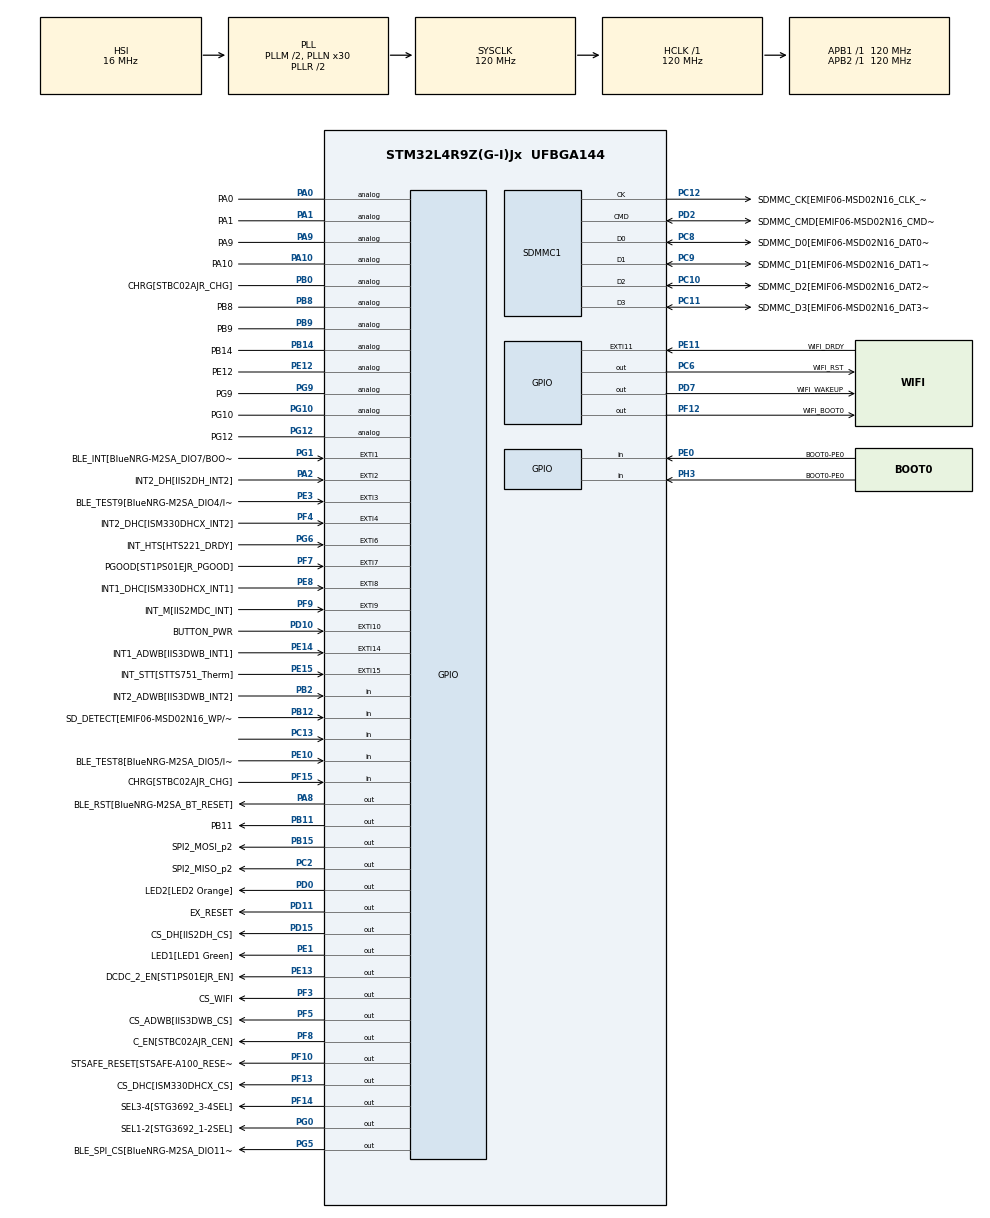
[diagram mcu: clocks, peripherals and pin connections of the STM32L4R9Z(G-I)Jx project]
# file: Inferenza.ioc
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FATFS.BSP.number=1
FATFS.USE_DMA_CODE_SD=1
FATFS0.BSP.STBoard=false
FATFS0.BSP.api=Unknown
FATFS0.BSP.instance=PC13
FATFS0.BSP.ip=GPIO
FATFS0.BSP.mode=Input
FATFS0.BSP.name=Detect_SDIO
FATFS0.BSP.solution=PC13
Mcu.Family=STM32L4
Mcu.Name=STM32L4R9Z(G-I)Jx
Mcu.Package=UFBGA144
NVIC.PriorityGroup=NVIC_PRIORITYGROUP_4
NVIC.SDMMC1_IRQn=true\:0\:0\:false\:false\:true\:true\:true\:true
PA0.GPIO_Label=PA0
PA0.Signal=GPIO_Analog
PA1.GPIO_Label=PA1
PA1.Signal=GPIO_Analog
PA10.GPIO_Label=PA10
PA10.Signal=GPIO_Analog
PA11.GPIO_Label=OTG_FS_DM[USBLC6-2P6_D2]
PA11.Signal=USB_OTG_FS_DM
PA12.GPIO_Label=OTG_FS_DP[USBLC6-2P6_D1]
PA12.Signal=USB_OTG_FS_DP
PA13\ (JTMS/SWDIO).GPIO_Label=SWDIO
PA13\ (JTMS/SWDIO).Mode=Serial_Wire
PA13\ (JTMS/SWDIO).Signal=SYS_JTMS-SWDIO
PA14\ (JTCK/SWCLK).GPIO_Label=SWDCLK
PA14\ (JTCK/SWCLK).Mode=Serial_Wire
PA14\ (JTCK/SWCLK).Signal=SYS_JTCK-SWCLK
PA15\ (JTDI).GPIO_Label=EX_PWM
PA15\ (JTDI).Signal=S_TIM2_CH1
PA2.GPIO_Label=INT2_DH[IIS2DH_INT2]
PA2.Signal=GPXTI2
PA4.GPIO_Label=DAC1_OUT1
PA4.Signal=COMP_DAC11_group
PA5.GPIO_Label=EX_ADC
PA5.Signal=ADCx_IN10
PA8.GPIO_Label=BLE_RST[BlueNRG-M2SA_BT_RESET]
PA8.Signal=GPIO_Output
PA9.GPIO_Label=PA9
PA9.Signal=GPIO_Analog
PB0.GPIO_Label=CHRG[STBC02AJR_CHG]
PB0.Signal=GPIO_Analog
PB1.GPIO_Label=USART3_RTS[STG3692_3S2]
PB1.Signal=USART3_RTS
PB10.GPIO_Label=DFSDM1_D7
PB10.GPIO_PuPd=GPIO_PULLDOWN
PB10.GPIO_Speed=GPIO_SPEED_FREQ_VERY_HIGH
PB10.Signal=S_DATAIN7DFSDM1
PB11.GPIO_Label=PB11
PB11.Signal=GPIO_Output
PB12.GPIO_Label=SD_DETECT[EMIF06-MSD02N16_WP/CD]
PB12.Signal=GPIO_Input
PB13.GPIO_Label=USART3_CTS
PB13.Signal=USART3_CTS
PB14.GPIO_Label=PB14
PB14.Signal=GPIO_Analog
PB15.GPIO_Label=SPI2_MOSI_p2
PB15.Signal=GPIO_Output
PB2.GPIO_Label=INT2_ADWB[IIS3DWB_INT2]
PB2.Signal=GPIO_Input
PB3\ (JTDO/TRACESWO).GPIO_Label=SPI3_CLK[SENSORS_SCL]
PB3\ (JTDO/TRACESWO).Signal=SPI3_SCK
PB4\ (NJTRST).GPIO_Label=SPI3_MISO[SENSORS_SDO]
PB4\ (NJTRST).Signal=SPI3_MISO
PB5.GPIO_Label=SPI3_MOSI[SENSORS_SDA]
PB5.Signal=SPI3_MOSI
PB6.GPIO_Label=DFSDM1_DATIN5[IMP34DT05_DOUT]
PB6.GPIO_PuPd=GPIO_PULLDOWN
PB6.GPIO_Speed=GPIO_SPEED_FREQ_VERY_HIGH
PB6.Signal=S_DATAIN5DFSDM1
PB8.GPIO_Label=PB8
PB8.Signal=GPIO_Analog
PB9.GPIO_Label=PB9
PB9.Signal=GPIO_Analog
PC0.GPIO_Label=ADC1_IN1[TS922EIJT_OUT2]
PC0.Signal=ADCx_IN1
PC1.GPIO_Label=ADC1_IN2[TS922EIJT_OUT1]
PC1.Signal=ADCx_IN2
PC10.GPIO_Label=SDMMC_D2[EMIF06-MSD02N16_DAT2_In]
PC10.Mode=SD_4_bits_Wide_bus
PC10.Signal=SDMMC1_D2
PC11.GPIO_Label=SDMMC_D3[EMIF06-MSD02N16_DAT3_In]
PC11.Mode=SD_4_bits_Wide_bus
PC11.Signal=SDMMC1_D3
PC12.GPIO_Label=SDMMC_CK[EMIF06-MSD02N16_CLK_In]
PC12.Mode=SD_4_bits_Wide_bus
PC12.Signal=SDMMC1_CK
PC13.Signal=GPIO_Input
PC14-OSC32_IN\ (PC14).GPIO_Label=OSC32_IN
PC14-OSC32_IN\ (PC14).Mode=LSE-External-Oscillator
PC14-OSC32_IN\ (PC14).Signal=RCC_OSC32_IN
PC15-OSC32_OUT\ (PC15).GPIO_Label=OSC32_OUT
PC15-OSC32_OUT\ (PC15).Mode=LSE-External-Oscillator
PC15-OSC32_OUT\ (PC15).Signal=RCC_OSC32_OUT
PC2.GPIO_Label=SPI2_MISO_p2
PC2.Signal=GPIO_Output
PC3.GPIO_Label=SPI2_MOSI[BlueNRG-M2SA_DIO3/SPI_MOSI]
PC3.Signal=SPI2_MOSI
PC4.GPIO_Label=uC_ADC_BATT[STBC02AJR_BATMS]
PC4.Signal=ADCx_IN13
PC5.GPIO_Label=PC5/WKUP5
PC5.Signal=SYS_WKUP5
PC6.GPIO_Label=WIFI_RST
PC6.Signal=GPIO_Output
PC8.GPIO_Label=SDMMC_D0[EMIF06-MSD02N16_DAT0_In]
PC8.Mode=SD_4_bits_Wide_bus
PC8.Signal=SDMMC1_D0
PC9.GPIO_Label=SDMMC_D1[EMIF06-MSD02N16_DAT1_In]
PC9.Mode=SD_4_bits_Wide_bus
PC9.Signal=SDMMC1_D1
PD0.GPIO_Label=LED2[LED2 Orange]
PD0.Signal=GPIO_Output
PD1.GPIO_Label=SPI2_CLK[BlueNRG-M2SA_DIO0/SPI_CLK]
PD1.Signal=SPI2_SCK
PD10.GPIO_Label=BUTTON_PWR
PD10.Signal=GPXTI10
PD11.GPIO_Label=EX_RESET 
PD11.Signal=GPIO_Output
PD12.GPIO_Label=I2C4_SCL
PD12.Signal=I2C4_SCL
PD13.GPIO_Label=I2C4_SDA
PD13.Signal=I2C4_SDA
PD15.GPIO_Label=CS_DH[IIS2DH_CS]
PD15.Signal=GPIO_Output
PD2.GPIO_Label=SDMMC_CMD[EMIF06-MSD02N16_CMD_In]
PD2.Mode=SD_4_bits_Wide_bus
PD2.Signal=SDMMC1_CMD
PD3.GPIO_Label=SPI2_MISO[BlueNRG-M2SA_DIO2/SPI_MISO]
PD3.Signal=SPI2_MISO
PD4.GPIO_Label=USART2_RTS[STR485LV_DE]
PD4.Signal=USART2_RTS
PD5.GPIO_Label=USART2_TX[STR485LV_D]
PD5.Signal=USART2_TX
PD6.GPIO_Label=USART2_RX[STR485LV_R]
PD6.Signal=USART2_RX
PD7.GPIO_Label=WIFI_WAKEUP
PD7.Signal=GPIO_Output
PD8.GPIO_Label=USART3_TX[STG3692_1S1]
PD8.Signal=USART3_TX
PD9.GPIO_Label=USART3_RX[STG3692_2S1]
PD9.Signal=USART3_RX
PE0.GPIO_Label=BOOT0-PE0
PE0.Signal=GPIO_Input
PE1.GPIO_Label=LED1[LED1 Green]
PE1.Signal=GPIO_Output
PE10.GPIO_Label=BLE_TEST8[BlueNRG-M2SA_DIO5/I2C_SDA]
PE10.Signal=GPIO_Input
PE11.GPIO_Label=WIFI_DRDY
PE11.Signal=GPXTI11
PE12.GPIO_Label=PE12
PE12.Signal=GPIO_Analog
PE13.GPIO_Label=DCDC_2_EN[ST1PS01EJR_EN]
PE13.Signal=GPIO_Output
PE14.GPIO_Label=INT1_ADWB[IIS3DWB_INT1]
PE14.Signal=GPXTI14
PE15.GPIO_Label=INT_STT[STTS751_Therm]
PE15.Signal=GPXTI15
PE2.GPIO_Label=SAI1_MCLK_A
PE2.Signal=SAI1_MCLK_A
PE3.GPIO_Label=BLE_TEST9[BlueNRG-M2SA_DIO4/I2C_CLK]
PE3.Signal=GPXTI3
PE4.GPIO_Label=SAI1_FS_A/DFSDM_D3
PE4.Signal=SAI1_FS_A
PE5.GPIO_Label=SAI1_SCK_A
PE5.Signal=SAI1_SCK_A
PE6.GPIO_Label=SAI1_SD_A
PE6.Signal=SAI1_SD_A
PE7.GPIO_Label=SAI1_SD_B
PE7.Signal=SAI1_SD_B
PE8.GPIO_Label=INT1_DHC[ISM330DHCX_INT1]
PE8.Signal=GPXTI8
PE9.GPIO_Label=DFSDM1_CKOUT[IMP34DT05_CLK]
PE9.GPIO_PuPd=GPIO_PULLDOWN
PE9.GPIO_Speed=GPIO_SPEED_FREQ_VERY_HIGH
PE9.Signal=S_CKOUTDFSDM1
PF0.GPIO_Label=I2C2_SDA[SENSORS_SDA]
PF0.Signal=I2C2_SDA
PF1.GPIO_Label=I2C2_SDA[SENSORS_SCL]
PF1.Signal=I2C2_SCL
PF10.GPIO_Label=STSAFE_RESET[STSAFE-A100_RESET]
PF10.Signal=GPIO_Output
PF12.GPIO_Label=WIFI_BOOT0
PF12.Signal=GPIO_Output
PF13.GPIO_Label=CS_DHC[ISM330DHCX_CS]
PF13.Signal=GPIO_Output
PF14.GPIO_Label=SEL3-4[STG3692_3-4SEL]
PF14.Signal=GPIO_Output
PF15.GPIO_Label=CHRG[STBC02AJR_CHG]
PF15.Signal=GPIO_Input
PF2.GPIO_Label=I2C2_SMBA[STTS751_EV]
PF2.Signal=I2C2_SMBA
PF3.GPIO_Label=CS_WIFI
PF3.Signal=GPIO_Output
PF4.GPIO_Label=INT2_DHC[ISM330DHCX_INT2]
PF4.Signal=GPXTI4
PF5.GPIO_Label=CS_ADWB[IIS3DWB_CS]
PF5.Signal=GPIO_Output
PF6.GPIO_Label=SW_SEL[STBC02AJR_SW_SEL]
PF6.GPIO_Speed=GPIO_SPEED_FREQ_HIGH
PF6.Signal=S_TIM5_CH1
PF7.GPIO_Label=PGOOD[ST1PS01EJR_PGOOD]
PF7.Signal=GPXTI7
PF8.GPIO_Label=C_EN[STBC02AJR_CEN]
PF8.Signal=GPIO_Output
PF9.GPIO_Label=INT_M[IIS2MDC_INT]
PF9.Signal=GPXTI9
PG0.GPIO_Label=SEL1-2[STG3692_1-2SEL]
PG0.Signal=GPIO_Output
PG1.GPIO_Label=BLE_INT[BlueNRG-M2SA_DIO7/BOOT/UART_CTS]
PG1.Signal=GPXTI1
PG10.GPIO_Label=PG10
PG10.Signal=GPIO_Analog
PG12.GPIO_Label=PG12
PG12.Signal=GPIO_Analog
PG2.GPIO_Label=SPI1_CLK
PG2.Signal=SPI1_SCK
PG3.GPIO_Label=SPI1_MISO
PG3.Signal=SPI1_MISO
PG4.GPIO_Label=SPI1_MOSI
PG4.Signal=SPI1_MOSI
PG5.GPIO_Label=BLE_SPI_CS[BlueNRG-M2SA_DIO11/UART_RXD]
PG5.Signal=GPIO_Output
PG6.GPIO_Label=INT_HTS[HTS221_DRDY]
PG6.Signal=GPXTI6
PG7.GPIO_Label=I2C3_SCL[STSAFE-A110_SCL]
PG7.Signal=I2C3_SCL
PG8.GPIO_Label=I2C3_SDA[STSAFE-A110_SDA]
PG8.Signal=I2C3_SDA
PG9.GPIO_Label=PG9
PG9.Signal=GPIO_Analog
PH0-OSC_IN\ (PH0).GPIO_Label=OSC_IN
PH0-OSC_IN\ (PH0).Mode=HSE-External-Oscillator
PH0-OSC_IN\ (PH0).Signal=RCC_OSC_IN
PH1-OSC_OUT\ (PH1).GPIO_Label=OSC_OUT
PH1-OSC_OUT\ (PH1).Mode=HSE-External-Oscillator
PH1-OSC_OUT\ (PH1).Signal=RCC_OSC_OUT
PH3-BOOT0.GPIO_Label=BOOT0-PE0
PH3-BOOT0.Signal=GPIO_Input
ProjectManager.HeapSize=0x10000
ProjectManager.StackSize=0x1000
ProjectManager.TargetToolchain=STM32CubeIDE
RCC.ADCFreq_Value=76800000
RCC.AHBFreq_Value=120000000
RCC.APB1Freq_Value=120000000
RCC.APB1TimFreq_Value=120000000
RCC.APB2Freq_Value=120000000
RCC.APB2TimFreq_Value=120000000
RCC.CK48CLockSelection=RCC_USBCLKSOURCE_HSI48
RCC.CortexFreq_Value=120000000
RCC.DSITX_Div=1
RCC.HCLKFreq_Value=120000000
RCC.HSE_VALUE=16000000
RCC.HSI48_VALUE=48000000
RCC.HSI_VALUE=16000000
RCC.MSI_VALUE=4000000
RCC.PLLDSIODF=DSI_PLL_OUT_DIV2
RCC.PLLM1=2
RCC.PLLM2=5
RCC.PLLM3=2
RCC.PLLN=30
RCC.PLLSAI1N=96
RCC.PLLSAI1P=RCC_PLLP_DIV25
RCC.PLLSAI1Q=RCC_PLLQ_DIV4
RCC.PLLSAI1R=RCC_PLLR_DIV4
RCC.PLLSourceVirtual=RCC_PLLSOURCE_HSI
RCC.RTCClockSelection=RCC_RTCCLKSOURCE_LSE
RCC.SDMMCClockSelection=RCC_SDIOCLKSOURCE_CLK48
RCC.SYSCLKFreq_VALUE=120000000
RCC.SYSCLKSource=RCC_SYSCLKSOURCE_PLLCLK
RCC.USBFreq_Value=48000000
RCC.VCOOutputFreq_Value=240000000
SH.ADCx_IN1.0=ADC1_IN1
SH.ADCx_IN10.0=ADC1_IN10
SH.ADCx_IN13.0=ADC1_IN13
SH.ADCx_IN2.0=ADC1_IN2
SH.COMP_DAC11_group.0=DAC1_OUT1
SH.S_CKOUTDFSDM1.0=DFSDM1_CKOUT
SH.S_DATAIN5DFSDM1.0=DFSDM1_DATIN5
SH.S_DATAIN7DFSDM1.0=DFSDM1_DATIN7
SH.S_TIM2_CH1.0=TIM2_CH1
SH.S_TIM5_CH1.0=TIM5_CH1
STMicroelectronics.X-CUBE-AI.9.1.0.ActivationBufferSizeList=28440
STMicroelectronics.X-CUBE-AI.9.1.0.ActivationBuffers=pool0
STMicroelectronics.X-CUBE-AI.9.1.0.ActivationNames=pool0
STMicroelectronics.X-CUBE-AI.9.1.0.ActivationSizes=AI_MODEL_DATA_ACTIVATION_1_SIZE
STMicroelectronics.X-CUBE-AI.9.1.0.HeapSize=0x10000
STMicroelectronics.X-CUBE-AI.9.1.0.InternalRamActivationBufferMaxSize=AI_MODEL_DATA_ACTIVATIONS_SIZE
STMicroelectronics.X-CUBE-AI.9.1.0.LatestDirectoryUsed-4fcce98d565bb1d8d3ad8242144862e82349d65df38ed90bec582ebf8f218b5b=C\:\\Users\\Windows\\Desktop\\TIROCINIO GITHUB\\Modelli Testati
STMicroelectronics.X-CUBE-AI.9.1.0.MaximumNumberOfInputLayer=1
STMicroelectronics.X-CUBE-AI.9.1.0.MaximumNumberOfOutputLayer=1
STMicroelectronics.X-CUBE-AI.9.1.0.MaximumSizeOfInputLayer=1
STMicroelectronics.X-CUBE-AI.9.1.0.MaximumSizeOfOutputLayer=1
STMicroelectronics.X-CUBE-AI.9.1.0.ModelActualCompression-4fcce98d565bb1d8d3ad8242144862e82349d65df38ed90bec582ebf8f218b5b=0.0
STMicroelectronics.X-CUBE-AI.9.1.0.ModelCompression-4fcce98d565bb1d8d3ad8242144862e82349d65df38ed90bec582ebf8f218b5b=None
STMicroelectronics.X-CUBE-AI.9.1.0.ModelFlashOccupation-4fcce98d565bb1d8d3ad8242144862e82349d65df38ed90bec582ebf8f218b5b=1044556
STMicroelectronics.X-CUBE-AI.9.1.0.ModelHashList=4fcce98d565bb1d8d3ad8242144862e82349d65df38ed90bec582ebf8f218b5b
STMicroelectronics.X-CUBE-AI.9.1.0.ModelKind-4fcce98d565bb1d8d3ad8242144862e82349d65df38ed90bec582ebf8f218b5b=KERAS
STMicroelectronics.X-CUBE-AI.9.1.0.ModelMacc-4fcce98d565bb1d8d3ad8242144862e82349d65df38ed90bec582ebf8f218b5b=1003133
STMicroelectronics.X-CUBE-AI.9.1.0.ModelName-4fcce98d565bb1d8d3ad8242144862e82349d65df38ed90bec582ebf8f218b5b=model
STMicroelectronics.X-CUBE-AI.9.1.0.ModelNameList=model
STMicroelectronics.X-CUBE-AI.9.1.0.ModelRamOccupation-4fcce98d565bb1d8d3ad8242144862e82349d65df38ed90bec582ebf8f218b5b=28440
STMicroelectronics.X-CUBE-AI.9.1.0.ModelStructureFile-4fcce98d565bb1d8d3ad8242144862e82349d65df38ed90bec582ebf8f218b5b=C\:\\Users\\Windows\\Desktop\\TIROCINIO GITHUB\\Modelli Testati\\model.keras
STMicroelectronics.X-CUBE-AI.9.1.0.ModelType-4fcce98d565bb1d8d3ad8242144862e82349d65df38ed90bec582ebf8f218b5b=STM32Cube.AI MCU runtime
STMicroelectronics.X-CUBE-AI.9.1.0.ReadyForCodeGeneration=true
STMicroelectronics.X-CUBE-AI.9.1.0.StackSize=0x1000
STMicroelectronics.X-CUBE-AI.9.1.0.WorkingBufferStartAddrList=0xFFFFFFFF
STMicroelectronics.X-CUBE-AI.9.1.0.XAaCUBEAaAICcArtificialOoIntelligenceJjCore=true
STMicroelectronics.X-CUBE-AI.9.1.0.copyWeightToRam-4fcce98d565bb1d8d3ad8242144862e82349d65df38ed90bec582ebf8f218b5b=false
STMicroelectronics.X-CUBE-AI.9.1.0.customLayerConfigEnabled-4fcce98d565bb1d8d3ad8242144862e82349d65df38ed90bec582ebf8f218b5b=false
STMicroelectronics.X-CUBE-AI.9.1.0.noOnnxIoTranspose-4fcce98d565bb1d8d3ad8242144862e82349d65df38ed90bec582ebf8f218b5b=false
STMicroelectronics.X-CUBE-AI.9.1.0.outputDirectory-4fcce98d565bb1d8d3ad8242144862e82349d65df38ed90bec582ebf8f218b5b=C\:\\Users\\Windows\\Desktop\\TIROCINIO GITHUB\\Inferenza su MCU
STMicroelectronics.X-CUBE-AI.9.1.0.useInputAllocation-4fcce98d565bb1d8d3ad8242144862e82349d65df38ed90bec582ebf8f218b5b=true
STMicroelectronics.X-CUBE-AI.9.1.0.useOutputAllocation-4fcce98d565bb1d8d3ad8242144862e82349d65df38ed90bec582ebf8f218b5b=true
TIM1.Prescaler=120 - 1
VP_FATFS_VS_SDIO.Mode=SDIO
VP_STMicroelectronics.X-CUBE-AI_VS_ArtificialOoIntelligenceJjXAaCUBEAaAI_9.1.0.Mode=ArtificialOoIntelligenceJjXAaCUBEAaAI
VP_TIM1_VS_ClockSourceINT.Mode=Internal
board=STEVAL-STWINKT1B

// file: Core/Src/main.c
/* USER CODE BEGIN Header */
/**
  ******************************************************************************
  * @file           : main.c
  * @brief          : Main program body
  ******************************************************************************
  * @attention
  *
  * Copyright (c) 2024 STMicroelectronics.
  * All rights reserved.
  *
  * This software is licensed under terms that can be found in the LICENSE file
  * in the root directory of this software component.
  * If no LICENSE file comes with this software, it is provided AS-IS.
  *
  ******************************************************************************
  */
/* USER CODE END Header */
#include "main.h"
#include "fatfs.h"

/* USER CODE BEGIN Includes */
#include "model.h"
#include "model_data.h"
#include "ai_platform.h"
#include <stdio.h>
#include <stdint.h>
#include <stdlib.h>
#include <inttypes.h>
#include <string.h>
#include <math.h>
/* USER CODE END Includes */

/* USER CODE BEGIN PD */
#define F_OUT "output.bin" //file in cui vengono salvati gli output
#define F_REPORT "output.txt" //file di report
#define F_INPUT "input.bin" //file contenente il vettore di input
#define QUANTIZZAZIONE 0 //0 se no (input in float32) ed 1 se si (input in int8)
#if QUANTIZZAZIONE
typedef ai_i8 IN_TYPE;
#else
typedef ai_float IN_TYPE;
#endif
#define STANDARDIZZAZIONE 1 //1 se si o 0 se no
//se standardizzazione è pari a 1 settare con gli appositi valori
#define MEDIA 		522.0
#define VARIANZA	814.0
#define OUT_EXP 	3999.0
/* USER CODE END PD */

SD_HandleTypeDef hsd1;

TIM_HandleTypeDef htim1;

/* USER CODE BEGIN PV */
FIL file_out;
FIL file_in;
FIL f_report;
char buf[100];
ai_float max_val = 0;
ai_float min_val = 0;
/* USER CODE END PV */

void SystemClock_Config(void);
static void MX_GPIO_Init(void);
static void MX_SDMMC1_SD_Init(void);
static void MX_TIM1_Init(void);
/* USER CODE BEGIN PFP */
int aiRun(const void*, void*);
int aiInit(void);
void acquire_and_process_data(IN_TYPE*, int, IN_TYPE*);
FRESULT read_from_sd(long int, ai_float*, int);
void write_to_sd(ai_float);
int net_run(IN_TYPE*, int, IN_TYPE*, IN_TYPE*);
void w_report(char*, int);
IN_TYPE* recast(ai_float*, int);
ai_float dequan(IN_TYPE*);
/* USER CODE END PFP */

/* USER CODE BEGIN 0 */
static ai_handle network = AI_HANDLE_NULL;

/* Global c-array to handle the activations buffer */
AI_ALIGNED(32)
static ai_u8 activations[AI_MODEL_DATA_ACTIVATIONS_SIZE];

/* Array to store the data of the input tensor */
	AI_ALIGNED(32)
static IN_TYPE in_data[AI_MODEL_IN_1_SIZE];

/* c-array to store the data of the output tensor */
AI_ALIGNED(32)
static IN_TYPE out_data[AI_MODEL_OUT_1_SIZE];

/* Array of pointer to manage the model's input/output tensors */
static ai_buffer *ai_input;
static ai_buffer *ai_output;
/* USER CODE END 0 */

int main(void)
{

  /* MCU Configuration--------------------------------------------------------*/

  /* Reset of all peripherals, Initializes the Flash interface and the Systick. */
  HAL_Init();

  /* Configure the system clock */
  SystemClock_Config();

  /* Initialize all configured peripherals */
  MX_GPIO_Init();
  MX_SDMMC1_SD_Init();
  MX_FATFS_Init();
  MX_TIM1_Init();
  /* USER CODE BEGIN 2 */
  //creazione della rete e dei buffer di input ed output
   if (aiInit() != 0)
     	  {
     		  Error_Handler();
     	  }
   FRESULT er = FR_OK;

   //montaggio della scheda SD
   er = f_mount(&SDFatFS, (TCHAR const*)SDPath, 0);
   if(er != FR_OK)
   {
    	  	   	Error_Handler();
   }

   strcpy (buf, "rete analizzata: ");
   w_report (buf, strlen(buf));
   int lung_stringa = strlen(AI_MODEL_ORIGIN_MODEL_NAME);
   w_report(AI_MODEL_ORIGIN_MODEL_NAME, lung_stringa);

   er = f_open(&file_in, F_INPUT, FA_READ);
   if(er != FR_OK)
   {
   	Error_Handler();
   }
   long int f_lung = f_size(&file_in); //salvo la lunghezza del vettore di input
   er = f_close(&file_in);
   if(er != FR_OK)
   {
   	Error_Handler();
   }

   /*definisco il numero di chunk da processare e creo il vettore prec
   per il passaggi da un chunk all'altro*/

   long int n_float = f_lung / sizeof(ai_float);
   int max_chunk = n_float / 10000;
   int c_corrente = 0;
   ai_float* ingresso;
   IN_TYPE* val;
   ai_float prec[AI_MODEL_IN_1_SIZE - 1];
   for(int k = 0; k < AI_MODEL_IN_1_SIZE - 1; k++)
 	  prec[k] = 0;

   sprintf(buf, "\nnumero di valori in ingresso: %ld\n", n_float);
   w_report(buf, strlen(buf));

   HAL_GPIO_WritePin(GPIOE, LED1_Pin|DCDC_2_EN_Pin, GPIO_PIN_SET); //accende un led che indica che il chip sta processando gli input

   strcpy (buf, "\ntempo di run di ogni inferenza:\n");
   lung_stringa = strlen(buf);
   w_report(buf, lung_stringa);

   while(c_corrente < max_chunk)
   {
 	  /*allocazione memoria e riempimento del vettore di imput di un determinato chunk*/
 	  ingresso = malloc(sizeof(ai_float) * (10000 + AI_MODEL_IN_1_SIZE - 1));
 	  for(int k = 0; k < AI_MODEL_IN_1_SIZE - 1; k++)
 	  		  ingresso[k] = prec[k];

 	  er = read_from_sd(10000, ingresso, c_corrente);
 	  if(er != FR_OK)
 	  {
    	    	  Error_Handler();
 	  }
 	  /*riempimento vettore prec per il chunk successivo*/
 	  for(int k = 0; k < AI_MODEL_IN_1_SIZE - 1; k++)
 	  	  		  prec[k] = ingresso[10000 + k];

 	  /*standardizzazione dell'imput e quantizzazione, se necessaria*/
 	  if (STANDARDIZZAZIONE)
 	  {
 		  for(int i = 0; i < 10000 + AI_MODEL_IN_1_SIZE - 1; i++)
 			  ingresso[i] = (ingresso[i] - MEDIA) / VARIANZA;
 	  }

 	  if (QUANTIZZAZIONE)
 	  {
 		  val = recast(ingresso, 10000 + AI_MODEL_IN_1_SIZE - 1);
 		  if(val == NULL)
 			  Error_Handler();
 		  free (ingresso);
 	  }
 	  else
 	  {
 		  val = ingresso;
 	  }

 	  /*run del chnk corrente*/
 	  for(int j = 0; j < 10000; j++)
 	  {
 		  if (net_run(in_data, j, val, out_data) != 0)
 			  Error_Handler();

 	  }
 	  free(val);
 	  c_corrente ++;
   }
 /*operazioni effettuate per l'ultimo chunk*/
   if((c_corrente == max_chunk)||(max_chunk == 0))
   {
 	  n_float = n_float - (max_chunk * 10000) + AI_MODEL_IN_1_SIZE - 1;
 	  ingresso = malloc(sizeof(ai_float) * n_float);
 	  for(int k = 0; k < AI_MODEL_IN_1_SIZE - 1; k++)
 	  		  ingresso[k] = prec[k];

 	  er = read_from_sd(n_float - AI_MODEL_IN_1_SIZE - 1, ingresso, c_corrente);

 	  if (STANDARDIZZAZIONE)
 	  {
 	  		  for(int k = 0; k < sizeof(ingresso); k++)
 	  			  ingresso[k] = (ingresso[k] - MEDIA) / VARIANZA;
 	  }
 	  if (QUANTIZZAZIONE)
 	  {
 	  	  val = recast(ingresso, n_float);
 	  	  if(val == NULL)
 	  		  Error_Handler();
 	  	  free (ingresso);
 	  }
 	  else
 	  {
 		  val = ingresso;
 	  }

 	  if(er != FR_OK)
 	  {
 		  		  Error_Handler();
 	  }

 	  for(int j = 0; j < n_float - AI_MODEL_IN_1_SIZE - 1; j++)
 	  {
 		  if (net_run(in_data, j, val, out_data) != 0)
 			  Error_Handler();
 	  }
 	  free(val);
   }

   strcpy (buf,"\nfine\n");
   lung_stringa = strlen(buf);
   w_report(buf, lung_stringa);

  /* USER CODE END 2 */

  /* Infinite loop */
  while (1)
  {

  }
}

void SystemClock_Config(void)
{
  RCC_OscInitTypeDef RCC_OscInitStruct = {0};
  RCC_ClkInitTypeDef RCC_ClkInitStruct = {0};

  /** Configure the main internal regulator output voltage
  */
  if (HAL_PWREx_ControlVoltageScaling(PWR_REGULATOR_VOLTAGE_SCALE1_BOOST) != HAL_OK)
  {
    Error_Handler();
  }

  /** Initializes the RCC Oscillators according to the specified parameters
  * in the RCC_OscInitTypeDef structure.
  */
  RCC_OscInitStruct.OscillatorType = RCC_OSCILLATORTYPE_HSI48|RCC_OSCILLATORTYPE_HSI;
  RCC_OscInitStruct.HSIState = RCC_HSI_ON;
  RCC_OscInitStruct.HSI48State = RCC_HSI48_ON;
  RCC_OscInitStruct.HSICalibrationValue = RCC_HSICALIBRATION_DEFAULT;
  RCC_OscInitStruct.PLL.PLLState = RCC_PLL_ON;
  RCC_OscInitStruct.PLL.PLLSource = RCC_PLLSOURCE_HSI;
  RCC_OscInitStruct.PLL.PLLM = 2;
  RCC_OscInitStruct.PLL.PLLN = 30;
  RCC_OscInitStruct.PLL.PLLP = RCC_PLLP_DIV2;
  RCC_OscInitStruct.PLL.PLLQ = RCC_PLLQ_DIV2;
  RCC_OscInitStruct.PLL.PLLR = RCC_PLLR_DIV2;
  if (HAL_RCC_OscConfig(&RCC_OscInitStruct) != HAL_OK)
  {
    Error_Handler();
  }

  /** Initializes the CPU, AHB and APB buses clocks
  */
  RCC_ClkInitStruct.ClockType = RCC_CLOCKTYPE_HCLK|RCC_CLOCKTYPE_SYSCLK
                              |RCC_CLOCKTYPE_PCLK1|RCC_CLOCKTYPE_PCLK2;
  RCC_ClkInitStruct.SYSCLKSource = RCC_SYSCLKSOURCE_PLLCLK;
  RCC_ClkInitStruct.AHBCLKDivider = RCC_SYSCLK_DIV1;
  RCC_ClkInitStruct.APB1CLKDivider = RCC_HCLK_DIV1;
  RCC_ClkInitStruct.APB2CLKDivider = RCC_HCLK_DIV1;

  if (HAL_RCC_ClockConfig(&RCC_ClkInitStruct, FLASH_LATENCY_5) != HAL_OK)
  {
    Error_Handler();
  }
}

static void MX_SDMMC1_SD_Init(void)
{

  hsd1.Instance = SDMMC1;
  hsd1.Init.ClockEdge = SDMMC_CLOCK_EDGE_RISING;
  hsd1.Init.ClockPowerSave = SDMMC_CLOCK_POWER_SAVE_DISABLE;
  hsd1.Init.BusWide = SDMMC_BUS_WIDE_4B;
  hsd1.Init.HardwareFlowControl = SDMMC_HARDWARE_FLOW_CONTROL_DISABLE;
  hsd1.Init.ClockDiv = 0;
  hsd1.Init.Transceiver = SDMMC_TRANSCEIVER_DISABLE;

}

static void MX_TIM1_Init(void)
{

  TIM_ClockConfigTypeDef sClockSourceConfig = {0};
  TIM_MasterConfigTypeDef sMasterConfig = {0};

  htim1.Instance = TIM1;
  htim1.Init.Prescaler = 120 - 1;
  htim1.Init.CounterMode = TIM_COUNTERMODE_UP;
  htim1.Init.Period = 65535;
  htim1.Init.ClockDivision = TIM_CLOCKDIVISION_DIV1;
  htim1.Init.RepetitionCounter = 0;
  htim1.Init.AutoReloadPreload = TIM_AUTORELOAD_PRELOAD_DISABLE;
  if (HAL_TIM_Base_Init(&htim1) != HAL_OK)
  {
    Error_Handler();
  }
  sClockSourceConfig.ClockSource = TIM_CLOCKSOURCE_INTERNAL;
  if (HAL_TIM_ConfigClockSource(&htim1, &sClockSourceConfig) != HAL_OK)
  {
    Error_Handler();
  }
  sMasterConfig.MasterOutputTrigger = TIM_TRGO_RESET;
  sMasterConfig.MasterOutputTrigger2 = TIM_TRGO2_RESET;
  sMasterConfig.MasterSlaveMode = TIM_MASTERSLAVEMODE_DISABLE;
  if (HAL_TIMEx_MasterConfigSynchronization(&htim1, &sMasterConfig) != HAL_OK)
  {
    Error_Handler();
  }

}

static void MX_GPIO_Init(void)
{
  GPIO_InitTypeDef GPIO_InitStruct = {0};

  /* GPIO Ports Clock Enable */
  __HAL_RCC_GPIOE_CLK_ENABLE();
  __HAL_RCC_GPIOB_CLK_ENABLE();
  __HAL_RCC_GPIOH_CLK_ENABLE();
  __HAL_RCC_GPIOD_CLK_ENABLE();
  __HAL_RCC_GPIOC_CLK_ENABLE();
  __HAL_RCC_GPIOA_CLK_ENABLE();
  __HAL_RCC_GPIOG_CLK_ENABLE();
  HAL_PWREx_EnableVddIO2();
  __HAL_RCC_GPIOF_CLK_ENABLE();

  /*Configure GPIO pin Output Level */
  HAL_GPIO_WritePin(GPIOE, LED1_Pin|DCDC_2_EN_Pin, GPIO_PIN_RESET);

  /*Configure GPIO pin Output Level */
  HAL_GPIO_WritePin(GPIOD, LED2_Pin|WIFI_WAKEUP_Pin|CS_DH_Pin|EX_RESET_Pin, GPIO_PIN_RESET);

  /*Configure GPIO pin Output Level */
  HAL_GPIO_WritePin(BLE_RST_GPIO_Port, BLE_RST_Pin, GPIO_PIN_RESET);

  /*Configure GPIO pin Output Level */
  HAL_GPIO_WritePin(GPIOC, WIFI_RST_Pin|SPI2_MISO_p2_Pin, GPIO_PIN_RESET);

  /*Configure GPIO pin Output Level */
  HAL_GPIO_WritePin(GPIOF, CS_WIFI_Pin|C_EN_Pin|CS_ADWB_Pin|STSAFE_RESET_Pin
                          |WIFI_BOOT0_Pin|CS_DHC_Pin|SEL3_4_Pin, GPIO_PIN_RESET);

  /*Configure GPIO pin Output Level */
  HAL_GPIO_WritePin(GPIOG, BLE_SPI_CS_Pin|SEL1_2_Pin, GPIO_PIN_RESET);

  /*Configure GPIO pin Output Level */
  HAL_GPIO_WritePin(GPIOB, SPI2_MOSI_p2_Pin|PB11_Pin, GPIO_PIN_RESET);

  /*Configure GPIO pins : BOOT0_PE0_Pin BLE_TEST8_Pin */
  GPIO_InitStruct.Pin = BOOT0_PE0_Pin|BLE_TEST8_Pin;
  GPIO_InitStruct.Mode = GPIO_MODE_INPUT;
  GPIO_InitStruct.Pull = GPIO_NOPULL;
  HAL_GPIO_Init(GPIOE, &GPIO_InitStruct);

  /*Configure GPIO pins : PB9_Pin PB8_Pin PB14_Pin CHRGB0_Pin */
  GPIO_InitStruct.Pin = PB9_Pin|PB8_Pin|PB14_Pin|CHRGB0_Pin;
  GPIO_InitStruct.Mode = GPIO_MODE_ANALOG;
  GPIO_InitStruct.Pull = GPIO_NOPULL;
  HAL_GPIO_Init(GPIOB, &GPIO_InitStruct);

  /*Configure GPIO pin : BOOT0_PE0H3_Pin */
  GPIO_InitStruct.Pin = BOOT0_PE0H3_Pin;
  GPIO_InitStruct.Mode = GPIO_MODE_INPUT;
  GPIO_InitStruct.Pull = GPIO_NOPULL;
  HAL_GPIO_Init(BOOT0_PE0H3_GPIO_Port, &GPIO_InitStruct);

  /*Configure GPIO pins : SPI3_MISO_Pin SPI3_MOSI_Pin SPI3_CLK_Pin */
  GPIO_InitStruct.Pin = SPI3_MISO_Pin|SPI3_MOSI_Pin|SPI3_CLK_Pin;
  GPIO_InitStruct.Mode = GPIO_MODE_AF_PP;
  GPIO_InitStruct.Pull = GPIO_NOPULL;
  GPIO_InitStruct.Speed = GPIO_SPEED_FREQ_VERY_HIGH;
  GPIO_InitStruct.Alternate = GPIO_AF6_SPI3;
  HAL_GPIO_Init(GPIOB, &GPIO_InitStruct);

  /*Configure GPIO pins : SPI2_MISO_Pin SPI2_CLK_Pin */
  GPIO_InitStruct.Pin = SPI2_MISO_Pin|SPI2_CLK_Pin;
  GPIO_InitStruct.Mode = GPIO_MODE_AF_PP;
  GPIO_InitStruct.Pull = GPIO_NOPULL;
  GPIO_InitStruct.Speed = GPIO_SPEED_FREQ_VERY_HIGH;
  GPIO_InitStruct.Alternate = GPIO_AF5_SPI2;
  HAL_GPIO_Init(GPIOD, &GPIO_InitStruct);

  /*Configure GPIO pins : BLE_TEST9_Pin WIFI_DRDY_Pin INT1_DHC_Pin INT_STT_Pin
                           INT1_ADWB_Pin */
  GPIO_InitStruct.Pin = BLE_TEST9_Pin|WIFI_DRDY_Pin|INT1_DHC_Pin|INT_STT_Pin
                          |INT1_ADWB_Pin;
  GPIO_InitStruct.Mode = GPIO_MODE_IT_RISING;
  GPIO_InitStruct.Pull = GPIO_NOPULL;
  HAL_GPIO_Init(GPIOE, &GPIO_InitStruct);

  /*Configure GPIO pins : USART2_RX_Pin USART2_RTS_Pin USART2_TX_Pin */
  GPIO_InitStruct.Pin = USART2_RX_Pin|USART2_RTS_Pin|USART2_TX_Pin;
  GPIO_InitStruct.Mode = GPIO_MODE_AF_PP;
  GPIO_InitStruct.Pull = GPIO_NOPULL;
  GPIO_InitStruct.Speed = GPIO_SPEED_FREQ_VERY_HIGH;
  GPIO_InitStruct.Alternate = GPIO_AF7_USART2;
  HAL_GPIO_Init(GPIOD, &GPIO_InitStruct);

  /*Configure GPIO pin : EX_PWM_Pin */
  GPIO_InitStruct.Pin = EX_PWM_Pin;
  GPIO_InitStruct.Mode = GPIO_MODE_AF_PP;
  GPIO_InitStruct.Pull = GPIO_NOPULL;
  GPIO_InitStruct.Speed = GPIO_SPEED_FREQ_LOW;
  GPIO_InitStruct.Alternate = GPIO_AF1_TIM2;
  HAL_GPIO_Init(EX_PWM_GPIO_Port, &GPIO_InitStruct);

  /*Configure GPIO pins : OTG_FS_DP_Pin OTG_FS_DM_Pin */
  GPIO_InitStruct.Pin = OTG_FS_DP_Pin|OTG_FS_DM_Pin;
  GPIO_InitStruct.Mode = GPIO_MODE_AF_PP;
  GPIO_InitStruct.Pull = GPIO_NOPULL;
  GPIO_InitStruct.Speed = GPIO_SPEED_FREQ_VERY_HIGH;
  GPIO_InitStruct.Alternate = GPIO_AF10_OTG_FS;
  HAL_GPIO_Init(GPIOA, &GPIO_InitStruct);

  /*Configure GPIO pins : SAI1_SCK_A_Pin SAI1_MCLK_A_Pin SAI1_FS_A_DFSDM_D3_Pin SAI1_SD_A_Pin
                           SAI1_SD_B_Pin */
  GPIO_InitStruct.Pin = SAI1_SCK_A_Pin|SAI1_MCLK_A_Pin|SAI1_FS_A_DFSDM_D3_Pin|SAI1_SD_A_Pin
                          |SAI1_SD_B_Pin;
  GPIO_InitStruct.Mode = GPIO_MODE_AF_PP;
  GPIO_InitStruct.Pull = GPIO_NOPULL;
  GPIO_InitStruct.Speed = GPIO_SPEED_FREQ_LOW;
  GPIO_InitStruct.Alternate = GPIO_AF13_SAI1;
  HAL_GPIO_Init(GPIOE, &GPIO_InitStruct);

  /*Configure GPIO pins : LED1_Pin DCDC_2_EN_Pin */
  GPIO_InitStruct.Pin = LED1_Pin|DCDC_2_EN_Pin;
  GPIO_InitStruct.Mode = GPIO_MODE_OUTPUT_PP;
  GPIO_InitStruct.Pull = GPIO_NOPULL;
  GPIO_InitStruct.Speed = GPIO_SPEED_FREQ_LOW;
  HAL_GPIO_Init(GPIOE, &GPIO_InitStruct);

  /*Configure GPIO pins : LED2_Pin WIFI_WAKEUP_Pin CS_DH_Pin EX_RESET_Pin */
  GPIO_InitStruct.Pin = LED2_Pin|WIFI_WAKEUP_Pin|CS_DH_Pin|EX_RESET_Pin;
  GPIO_InitStruct.Mode = GPIO_MODE_OUTPUT_PP;
  GPIO_InitStruct.Pull = GPIO_NOPULL;
  GPIO_InitStruct.Speed = GPIO_SPEED_FREQ_LOW;
  HAL_GPIO_Init(GPIOD, &GPIO_InitStruct);

  /*Configure GPIO pins : PA10_Pin PA9_Pin PA0_Pin DAC1_OUT1_Pin
                           PA1_Pin */
  GPIO_InitStruct.Pin = PA10_Pin|PA9_Pin|PA0_Pin|DAC1_OUT1_Pin
                          |PA1_Pin;
  GPIO_InitStruct.Mode = GPIO_MODE_ANALOG;
  GPIO_InitStruct.Pull = GPIO_NOPULL;
  HAL_GPIO_Init(GPIOA, &GPIO_InitStruct);

  /*Configure GPIO pins : DFSDM1_DATIN5_Pin DFSDM1_D7_Pin */
  GPIO_InitStruct.Pin = DFSDM1_DATIN5_Pin|DFSDM1_D7_Pin;
  GPIO_InitStruct.Mode = GPIO_MODE_AF_PP;
  GPIO_InitStruct.Pull = GPIO_PULLDOWN;
  GPIO_InitStruct.Speed = GPIO_SPEED_FREQ_VERY_HIGH;
  GPIO_InitStruct.Alternate = GPIO_AF6_DFSDM1;
  HAL_GPIO_Init(GPIOB, &GPIO_InitStruct);

  /*Configure GPIO pins : PG12_Pin PG10_Pin PG9_Pin */
  GPIO_InitStruct.Pin = PG12_Pin|PG10_Pin|PG9_Pin;
  GPIO_InitStruct.Mode = GPIO_MODE_ANALOG;
  GPIO_InitStruct.Pull = GPIO_NOPULL;
  HAL_GPIO_Init(GPIOG, &GPIO_InitStruct);

  /*Configure GPIO pin : BLE_RST_Pin */
  GPIO_InitStruct.Pin = BLE_RST_Pin;
  GPIO_InitStruct.Mode = GPIO_MODE_OUTPUT_PP;
  GPIO_InitStruct.Pull = GPIO_NOPULL;
  GPIO_InitStruct.Speed = GPIO_SPEED_FREQ_LOW;
  HAL_GPIO_Init(BLE_RST_GPIO_Port, &GPIO_InitStruct);

  /*Configure GPIO pins : WIFI_RST_Pin SPI2_MISO_p2_Pin */
  GPIO_InitStruct.Pin = WIFI_RST_Pin|SPI2_MISO_p2_Pin;
  GPIO_InitStruct.Mode = GPIO_MODE_OUTPUT_PP;
  GPIO_InitStruct.Pull = GPIO_NOPULL;
  GPIO_InitStruct.Speed = GPIO_SPEED_FREQ_LOW;
  HAL_GPIO_Init(GPIOC, &GPIO_InitStruct);

  /*Configure GPIO pins : I2C2_SMBA_Pin I2C2_SDA_Pin I2C2_SDAF0_Pin */
  GPIO_InitStruct.Pin = I2C2_SMBA_Pin|I2C2_SDA_Pin|I2C2_SDAF0_Pin;
  GPIO_InitStruct.Mode = GPIO_MODE_AF_OD;
  GPIO_InitStruct.Pull = GPIO_NOPULL;
  GPIO_InitStruct.Speed = GPIO_SPEED_FREQ_VERY_HIGH;
  GPIO_InitStruct.Alternate = GPIO_AF4_I2C2;
  HAL_GPIO_Init(GPIOF, &GPIO_InitStruct);

  /*Configure GPIO pin : PC13 */
  GPIO_InitStruct.Pin = GPIO_PIN_13;
  GPIO_InitStruct.Mode = GPIO_MODE_INPUT;
  GPIO_InitStruct.Pull = GPIO_NOPULL;
  HAL_GPIO_Init(GPIOC, &GPIO_InitStruct);

  /*Configure GPIO pins : CS_WIFI_Pin C_EN_Pin CS_ADWB_Pin STSAFE_RESET_Pin
                           WIFI_BOOT0_Pin CS_DHC_Pin SEL3_4_Pin */
  GPIO_InitStruct.Pin = CS_WIFI_Pin|C_EN_Pin|CS_ADWB_Pin|STSAFE_RESET_Pin
                          |WIFI_BOOT0_Pin|CS_DHC_Pin|SEL3_4_Pin;
  GPIO_InitStruct.Mode = GPIO_MODE_OUTPUT_PP;
  GPIO_InitStruct.Pull = GPIO_NOPULL;
  GPIO_InitStruct.Speed = GPIO_SPEED_FREQ_LOW;
  HAL_GPIO_Init(GPIOF, &GPIO_InitStruct);

  /*Configure GPIO pins : I2C3_SDA_Pin I2C3_SCL_Pin */
  GPIO_InitStruct.Pin = I2C3_SDA_Pin|I2C3_SCL_Pin;
  GPIO_InitStruct.Mode = GPIO_MODE_AF_OD;
  GPIO_InitStruct.Pull = GPIO_NOPULL;
  GPIO_InitStruct.Speed = GPIO_SPEED_FREQ_VERY_HIGH;
  GPIO_InitStruct.Alternate = GPIO_AF4_I2C3;
  HAL_GPIO_Init(GPIOG, &GPIO_InitStruct);

  /*Configure GPIO pin : SW_SEL_Pin */
  GPIO_InitStruct.Pin = SW_SEL_Pin;
  GPIO_InitStruct.Mode = GPIO_MODE_AF_PP;
  GPIO_InitStruct.Pull = GPIO_NOPULL;
  GPIO_InitStruct.Speed = GPIO_SPEED_FREQ_HIGH;
  GPIO_InitStruct.Alternate = GPIO_AF2_TIM5;
  HAL_GPIO_Init(SW_SEL_GPIO_Port, &GPIO_InitStruct);

  /*Configure GPIO pins : INT2_DHC_Pin PGOOD_Pin INT_M_Pin */
  GPIO_InitStruct.Pin = INT2_DHC_Pin|PGOOD_Pin|INT_M_Pin;
  GPIO_InitStruct.Mode = GPIO_MODE_IT_RISING;
  GPIO_InitStruct.Pull = GPIO_NOPULL;
  HAL_GPIO_Init(GPIOF, &GPIO_InitStruct);

  /*Configure GPIO pins : SPI1_MISO_Pin SPI1_MOSI_Pin SPI1_CLK_Pin */
  GPIO_InitStruct.Pin = SPI1_MISO_Pin|SPI1_MOSI_Pin|SPI1_CLK_Pin;
  GPIO_InitStruct.Mode = GPIO_MODE_AF_PP;
  GPIO_InitStruct.Pull = GPIO_NOPULL;
  GPIO_InitStruct.Speed = GPIO_SPEED_FREQ_VERY_HIGH;
  GPIO_InitStruct.Alternate = GPIO_AF5_SPI1;
  HAL_GPIO_Init(GPIOG, &GPIO_InitStruct);

  /*Configure GPIO pins : BLE_SPI_CS_Pin SEL1_2_Pin */
  GPIO_InitStruct.Pin = BLE_SPI_CS_Pin|SEL1_2_Pin;
  GPIO_InitStruct.Mode = GPIO_MODE_OUTPUT_PP;
  GPIO_InitStruct.Pull = GPIO_NOPULL;
  GPIO_InitStruct.Speed = GPIO_SPEED_FREQ_LOW;
  HAL_GPIO_Init(GPIOG, &GPIO_InitStruct);

  /*Configure GPIO pins : INT_HTS_Pin BLE_INT_Pin */
  GPIO_InitStruct.Pin = INT_HTS_Pin|BLE_INT_Pin;
  GPIO_InitStruct.Mode = GPIO_MODE_IT_RISING;
  GPIO_InitStruct.Pull = GPIO_NOPULL;
  HAL_GPIO_Init(GPIOG, &GPIO_InitStruct);

  /*Configure GPIO pins : I2C4_SCL_Pin I2C4_SDA_Pin */
  GPIO_InitStruct.Pin = I2C4_SCL_Pin|I2C4_SDA_Pin;
  GPIO_InitStruct.Mode = GPIO_MODE_AF_OD;
  GPIO_InitStruct.Pull = GPIO_NOPULL;
  GPIO_InitStruct.Speed = GPIO_SPEED_FREQ_VERY_HIGH;
  GPIO_InitStruct.Alternate = GPIO_AF4_I2C4;
  HAL_GPIO_Init(GPIOD, &GPIO_InitStruct);

  /*Configure GPIO pins : ADC1_IN1_Pin ADC1_IN2_Pin uC_ADC_BATT_Pin */
  GPIO_InitStruct.Pin = ADC1_IN1_Pin|ADC1_IN2_Pin|uC_ADC_BATT_Pin;
  GPIO_InitStruct.Mode = GPIO_MODE_ANALOG_ADC_CONTROL;
  GPIO_InitStruct.Pull = GPIO_NOPULL;
  HAL_GPIO_Init(GPIOC, &GPIO_InitStruct);

  /*Configure GPIO pins : INT2_ADWB_Pin SD_DETECT_Pin */
  GPIO_InitStruct.Pin = INT2_ADWB_Pin|SD_DETECT_Pin;
  GPIO_InitStruct.Mode = GPIO_MODE_INPUT;
  GPIO_InitStruct.Pull = GPIO_NOPULL;
  HAL_GPIO_Init(GPIOB, &GPIO_InitStruct);

  /*Configure GPIO pin : CHRG_Pin */
  GPIO_InitStruct.Pin = CHRG_Pin;
  GPIO_InitStruct.Mode = GPIO_MODE_INPUT;
  GPIO_InitStruct.Pull = GPIO_NOPULL;
  HAL_GPIO_Init(CHRG_GPIO_Port, &GPIO_InitStruct);

  /*Configure GPIO pin : BUTTON_PWR_Pin */
  GPIO_InitStruct.Pin = BUTTON_PWR_Pin;
  GPIO_InitStruct.Mode = GPIO_MODE_IT_RISING;
  GPIO_InitStruct.Pull = GPIO_NOPULL;
  HAL_GPIO_Init(BUTTON_PWR_GPIO_Port, &GPIO_InitStruct);

  /*Configure GPIO pins : USART3_RX_Pin USART3_TX_Pin */
  GPIO_InitStruct.Pin = USART3_RX_Pin|USART3_TX_Pin;
  GPIO_InitStruct.Mode = GPIO_MODE_AF_PP;
  GPIO_InitStruct.Pull = GPIO_NOPULL;
  GPIO_InitStruct.Speed = GPIO_SPEED_FREQ_VERY_HIGH;
  GPIO_InitStruct.Alternate = GPIO_AF7_USART3;
  HAL_GPIO_Init(GPIOD, &GPIO_InitStruct);

  /*Configure GPIO pin : SPI2_MOSI_Pin */
  GPIO_InitStruct.Pin = SPI2_MOSI_Pin;
  GPIO_InitStruct.Mode = GPIO_MODE_AF_PP;
  GPIO_InitStruct.Pull = GPIO_NOPULL;
  GPIO_InitStruct.Speed = GPIO_SPEED_FREQ_VERY_HIGH;
  GPIO_InitStruct.Alternate = GPIO_AF5_SPI2;
  HAL_GPIO_Init(SPI2_MOSI_GPIO_Port, &GPIO_InitStruct);

  /*Configure GPIO pins : USART3_RTS_Pin USART3_CTS_Pin */
  GPIO_InitStruct.Pin = USART3_RTS_Pin|USART3_CTS_Pin;
  GPIO_InitStruct.Mode = GPIO_MODE_AF_PP;
  GPIO_InitStruct.Pull = GPIO_NOPULL;
  GPIO_InitStruct.Speed = GPIO_SPEED_FREQ_VERY_HIGH;
  GPIO_InitStruct.Alternate = GPIO_AF7_USART3;
  HAL_GPIO_Init(GPIOB, &GPIO_InitStruct);

  /*Configure GPIO pin : DFSDM1_CKOUT_Pin */
  GPIO_InitStruct.Pin = DFSDM1_CKOUT_Pin;
  GPIO_InitStruct.Mode = GPIO_MODE_AF_PP;
  GPIO_InitStruct.Pull = GPIO_PULLDOWN;
  GPIO_InitStruct.Speed = GPIO_SPEED_FREQ_VERY_HIGH;
  GPIO_InitStruct.Alternate = GPIO_AF6_DFSDM1;
  HAL_GPIO_Init(DFSDM1_CKOUT_GPIO_Port, &GPIO_InitStruct);

  /*Configure GPIO pins : SPI2_MOSI_p2_Pin PB11_Pin */
  GPIO_InitStruct.Pin = SPI2_MOSI_p2_Pin|PB11_Pin;
  GPIO_InitStruct.Mode = GPIO_MODE_OUTPUT_PP;
  GPIO_InitStruct.Pull = GPIO_NOPULL;
  GPIO_InitStruct.Speed = GPIO_SPEED_FREQ_LOW;
  HAL_GPIO_Init(GPIOB, &GPIO_InitStruct);

  /*Configure GPIO pin : INT2_DH_Pin */
  GPIO_InitStruct.Pin = INT2_DH_Pin;
  GPIO_InitStruct.Mode = GPIO_MODE_IT_RISING;
  GPIO_InitStruct.Pull = GPIO_NOPULL;
  HAL_GPIO_Init(INT2_DH_GPIO_Port, &GPIO_InitStruct);

  /*Configure GPIO pin : EX_ADC_Pin */
  GPIO_InitStruct.Pin = EX_ADC_Pin;
  GPIO_InitStruct.Mode = GPIO_MODE_ANALOG_ADC_CONTROL;
  GPIO_InitStruct.Pull = GPIO_NOPULL;
  HAL_GPIO_Init(EX_ADC_GPIO_Port, &GPIO_InitStruct);

  /*Configure GPIO pin : PE12_Pin */
  GPIO_InitStruct.Pin = PE12_Pin;
  GPIO_InitStruct.Mode = GPIO_MODE_ANALOG;
  GPIO_InitStruct.Pull = GPIO_NOPULL;
  HAL_GPIO_Init(PE12_GPIO_Port, &GPIO_InitStruct);

}

/* USER CODE BEGIN 4 */

int aiRun(const void *in_data, void *out_data) {

	ai_i32 n_batch;
	ai_error err;
/*riempimento buffer di input ed output*/
	ai_input[0].data = AI_HANDLE_PTR(in_data);
	ai_output[0].data = AI_HANDLE_PTR(out_data);
/*run*/
	n_batch = ai_model_run(network, &ai_input[0], &ai_output[0]);
	if (n_batch != 1) {
		err = ai_model_get_error(network);
		Error_Handler();
	};

	return 0;
}

int aiInit(void) {
  ai_error err;

  /* Create and initialize the c-model */
  const ai_handle acts[] = { activations };
  err = ai_model_create_and_init(&network, acts, NULL);
  if (err.type != AI_ERROR_NONE) {
	  Error_Handler();
  }

  /* Reteive pointers to the model's input/output tensors */
  ai_input = ai_model_inputs_get(network, NULL);
  ai_output = ai_model_outputs_get(network, NULL);

  return 0;
}

void acquire_and_process_data(IN_TYPE* in_data, int j, IN_TYPE* val)
{
		for (int i = 0; i < AI_MODEL_IN_1_SIZE; i++)
			in_data[i] = val[i+j];
}

int net_run(IN_TYPE* in_data, int j, IN_TYPE* val,IN_TYPE* out_data)
{
	ai_float risultato;
	uint16_t et;

	acquire_and_process_data(in_data, j, val);

	HAL_TIM_Base_Start(&htim1);
	et = __HAL_TIM_GET_COUNTER(&htim1);

	aiRun(in_data, out_data);

	et = __HAL_TIM_GET_COUNTER(&htim1) - et;
    sprintf(buf, "finestra %d : %uus\n", j,  et);
    int lunghezza_stringa = strlen(buf);
    w_report(buf, lunghezza_stringa);

    if (QUANTIZZAZIONE)
    	risultato = dequan(out_data);
    else
    	risultato = out_data[0];
    if (STANDARDIZZAZIONE){
    write_to_sd(risultato * 3999.0);}
    else{
    write_to_sd(risultato);}

	return 0;
}
/*funzione che legge dalla scheda sd con un offset appropriato*/
FRESULT read_from_sd(long int f_to_r, ai_float* valori_letti, int chunk)
{
	FRESULT er;
	er = f_open(&file_in, F_INPUT , FA_READ);
	if(er != FR_OK)
	{
		Error_Handler();
	}
	int offset = chunk * 10000 *sizeof(ai_float);
	er = f_lseek(&file_in, offset);
	if(er != FR_OK)
	{
		Error_Handler();
	}

	int br;

	er = f_read(&file_in, valori_letti + AI_MODEL_IN_1_SIZE - 1, sizeof(ai_float) * f_to_r, (void*) &br);
	if((er != FR_OK)||br != (sizeof(ai_float) * f_to_r))
	{
	   	Error_Handler();
	}
	er = f_close(&file_in);
	if(er != FR_OK)
	{
		Error_Handler();
	}
	return er;
}
/*scrittura del risultato in SD*/
void write_to_sd (ai_float num)
{
	FRESULT er;
	int bw;
	er = f_open(&file_out, F_OUT, FA_WRITE | FA_OPEN_APPEND);
	if(er != FR_OK)
	{
		 Error_Handler();
	}
	er = f_write(&file_out, &num, sizeof(num), (void *)&bw);
	if((er != FR_OK)||(bw == 0))
	{
		Error_Handler();
	}
	er = f_close(&file_out);
	if(er != FR_OK)
	{
		 Error_Handler();
	}

}
void w_report(char* stringa, int l_str)
{
	FRESULT er;
	int bw;
	er = f_open(&f_report, F_REPORT, FA_WRITE | FA_OPEN_APPEND);
	if(er != FR_OK)
	{
		Error_Handler();
	}
	er = f_write(&f_report, stringa, l_str, (void *)&bw);
	if((er != FR_OK)||(bw != l_str))
	{
		Error_Handler();
	}
	er = f_close(&f_report);
	if((er != FR_OK)||(bw == 0))
	{
		Error_Handler();
	}
}
/*quantizzazione lineare degli input, in fase di test sono state usate delle reti in cui
gli input dovevano essere quatizzati*/
IN_TYPE* recast(ai_float* v_float,int lungh)
{
	if (lungh == 0 || v_float == NULL)
	        return NULL;  // Gestione degli errori

	ai_float range;
	max_val = v_float[0];
	min_val = v_float[0];

	for (int i = 0; i < lungh; i++)
	{
		if (v_float[i] > max_val)
			max_val = v_float[i];
		if (v_float[i] < min_val)
		    min_val = v_float[i];
	}
	range = max_val - min_val;
	if (range == 0)
	{
        range = 1;  // Evita divisione per zero
    }

	IN_TYPE* result = (IN_TYPE*)malloc(lungh * sizeof(IN_TYPE));
	if (result == NULL)
	        return NULL;  // Gestione errori in caso di allocazione fallita
    // Normalizza e converte i valori in int8_t
    for (int i = 0; i < lungh; i++) {
        ai_float normalized = (v_float[i] - min_val) / range;  // Normalizza tra 0 e 1
        result[i] = (IN_TYPE) (roundf(normalized * 255.0) - 128);  // Scala a -128 ... 127
    }

    return result;
}
/*dequantizzazione*/
ai_float dequan(IN_TYPE* output)
{
	ai_float range = max_val - min_val;
	if (range == 0)
	{
	        range = 1;  // Evita moltiplicazione per zero
	}
	ai_float risultato = output[0];
	risultato = ((risultato + 128) * (max_val - min_val) / 255) + min_val;
	return risultato;
}
/* USER CODE END 4 */

void Error_Handler(void)
{
  /* USER CODE BEGIN Error_Handler_Debug */
	  /* User can add his own implementation to report the HAL error return state */
	  __disable_irq();
	  w_report("errore", strlen("errore"));
	  HAL_GPIO_WritePin(GPIOE, LED1_Pin|DCDC_2_EN_Pin, GPIO_PIN_RESET);
	  while (1)
	  {
	  }
  /* USER CODE END Error_Handler_Debug */
}
